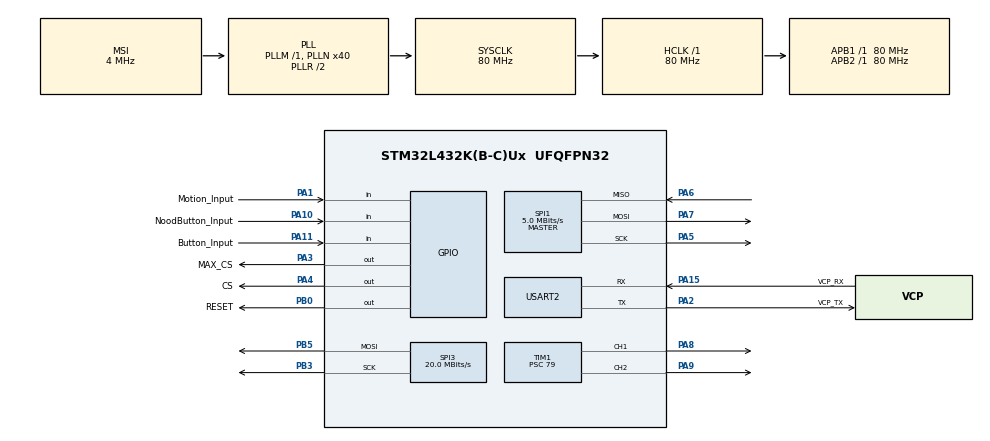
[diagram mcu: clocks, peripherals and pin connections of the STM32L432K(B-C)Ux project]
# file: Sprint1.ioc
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Mcu.Family=STM32L4
Mcu.Name=STM32L432K(B-C)Ux
Mcu.Package=UFQFPN32
NVIC.PriorityGroup=NVIC_PRIORITYGROUP_4
PA0.GPIO_Label=MCO [High speed clock in]
PA0.Mode=HSE-External-Clock-Source-for-LittleOrca
PA0.Signal=RCC_CK_IN
PA1.GPIO_Label=Motion_Input
PA1.Signal=GPIO_Input
PA10.GPIO_Label=NoodButton_Input
PA10.GPIO_PuPd=GPIO_PULLUP
PA10.Signal=GPIO_Input
PA11.GPIO_Label=Button_Input
PA11.GPIO_PuPd=GPIO_PULLUP
PA11.Signal=GPIO_Input
PA13\ (JTMS-SWDIO).GPIO_Label=SWDIO
PA13\ (JTMS-SWDIO).Mode=Serial_Wire
PA13\ (JTMS-SWDIO).Signal=SYS_JTMS-SWDIO
PA14\ (JTCK-SWCLK).GPIO_Label=SWCLK
PA14\ (JTCK-SWCLK).Mode=Serial_Wire
PA14\ (JTCK-SWCLK).Signal=SYS_JTCK-SWCLK
PA15\ (JTDI).GPIO_Label=VCP_RX
PA15\ (JTDI).Mode=Asynchronous
PA15\ (JTDI).Signal=USART2_RX
PA2.GPIO_Label=VCP_TX
PA2.Mode=Asynchronous
PA2.Signal=USART2_TX
PA3.GPIO_Label=MAX_CS
PA3.Signal=GPIO_Output
PA4.GPIO_Label=CS
PA4.Signal=GPIO_Output
PA5.Mode=Full_Duplex_Master
PA5.Signal=SPI1_SCK
PA6.Mode=Full_Duplex_Master
PA6.Signal=SPI1_MISO
PA7.Mode=Full_Duplex_Master
PA7.Signal=SPI1_MOSI
PA8.Signal=S_TIM1_CH1
PA9.Signal=S_TIM1_CH2
PB0.GPIO_Label=RESET
PB0.Signal=GPIO_Output
PB3\ (JTDO-TRACESWO).Mode=TX_Only_Simplex_Unidirect_Master
PB3\ (JTDO-TRACESWO).Signal=SPI3_SCK
PB5.Mode=TX_Only_Simplex_Unidirect_Master
PB5.Signal=SPI3_MOSI
PC14-OSC32_IN\ (PC14).Mode=LSE-External-Oscillator
PC14-OSC32_IN\ (PC14).Signal=RCC_OSC32_IN
PC15-OSC32_OUT\ (PC15).Mode=LSE-External-Oscillator
PC15-OSC32_OUT\ (PC15).Signal=RCC_OSC32_OUT
ProjectManager.HeapSize=0x200
ProjectManager.StackSize=0x400
ProjectManager.TargetToolchain=STM32CubeIDE
RCC.AHBFreq_Value=80000000
RCC.APB1Freq_Value=80000000
RCC.APB1TimFreq_Value=80000000
RCC.APB2Freq_Value=80000000
RCC.APB2TimFreq_Value=80000000
RCC.CortexFreq_Value=80000000
RCC.HCLKFreq_Value=80000000
RCC.HSE_VALUE=8000000
RCC.HSI16_VALUE=16000000
RCC.HSI48_VALUE=48000000
RCC.HSI_VALUE=16000000
RCC.MSI_VALUE=4000000
RCC.PLLMUL=RCC_PLLMUL_4
RCC.PLLN=40
RCC.SYSCLKFreq_VALUE=80000000
RCC.SYSCLKSource=RCC_SYSCLKSOURCE_PLLCLK
RCC.VCOOutputFreq_Value=160000000
SH.S_TIM1_CH1.0=TIM1_CH1,PWM Generation1 CH1
SH.S_TIM1_CH2.0=TIM1_CH2,PWM Generation2 CH2
SPI1.BaudRatePrescaler=SPI_BAUDRATEPRESCALER_16
SPI1.CalculateBaudRate=5.0 MBits/s
SPI1.DataSize=SPI_DATASIZE_8BIT
SPI1.Direction=SPI_DIRECTION_2LINES
SPI1.Mode=SPI_MODE_MASTER
SPI1.VirtualType=VM_MASTER
SPI3.BaudRatePrescaler=SPI_BAUDRATEPRESCALER_4
SPI3.CalculateBaudRate=20.0 MBits/s
SPI3.DataSize=SPI_DATASIZE_8BIT
SPI3.Direction=SPI_DIRECTION_2LINES
SPI3.Mode=SPI_MODE_MASTER
SPI3.VirtualType=VM_MASTER
TIM1.Channel-PWM\ Generation1\ CH1=TIM_CHANNEL_1
TIM1.Channel-PWM\ Generation2\ CH2=TIM_CHANNEL_2
TIM1.Period=19999
TIM1.Prescaler=79
TIM1.Pulse-PWM\ Generation1\ CH1=1500
TIM1.Pulse-PWM\ Generation2\ CH2=1500
USART2.VirtualMode-Asynchronous=VM_ASYNC
board=NUCLEO-L432KC

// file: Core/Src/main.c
/* USER CODE BEGIN Header */
/**
  ******************************************************************************
  * @file           : main.c
  * @brief          : Main program body
  ******************************************************************************
  * @attention
  *
  * Copyright (c) 2026 STMicroelectronics.
  * All rights reserved.
  *
  * This software is licensed under terms that can be found in the LICENSE file
  * in the root directory of this software component.
  * If no LICENSE file comes with this software, it is provided AS-IS.
  *
  ******************************************************************************
  */
/* USER CODE END Header */
#include "main.h"

/* USER CODE BEGIN Includes */
#include "MFRC522_STM32.h"
/* USER CODE END Includes */

SPI_HandleTypeDef hspi1;
SPI_HandleTypeDef hspi3;

TIM_HandleTypeDef htim1;

UART_HandleTypeDef huart2;

/* USER CODE BEGIN PV */
uint8_t uid[4];
extern uint8_t atqa[];
/* USER CODE END PV */

void SystemClock_Config(void);
static void MX_GPIO_Init(void);
static void MX_TIM1_Init(void);
static void MX_USART2_UART_Init(void);
static void MX_SPI3_Init(void);
static void MX_SPI1_Init(void);
/* USER CODE BEGIN PFP */
MFRC522_t rfID = {&hspi1, CS_GPIO_Port, CS_Pin, RESET_GPIO_Port, RESET_Pin};
/* USER CODE END PFP */

/* USER CODE BEGIN 0 */
int _write(int fd, unsigned char *buf, int len);

void Servo_SetAngle(uint8_t angle, uint32_t channel)
{
    uint32_t pulse = 500 + ((uint32_t)angle * 2000) / 180;
    __HAL_TIM_SET_COMPARE(&htim1, channel, pulse);
}

void max7219_send(uint8_t reg, uint8_t data)
{
    HAL_GPIO_WritePin(MAX_CS_GPIO_Port, MAX_CS_Pin, GPIO_PIN_RESET);

    uint8_t bytes[2] = {reg, data};
    HAL_SPI_Transmit(&hspi3, bytes, 2, HAL_MAX_DELAY);

    HAL_GPIO_WritePin(MAX_CS_GPIO_Port, MAX_CS_Pin, GPIO_PIN_SET);
}

void max7219_init(void)
{
    max7219_send(0x0F, 0x00); // Display test uit
    max7219_send(0x0C, 0x01); // Shutdown uit (display aan)
    max7219_send(0x0B, 0x07); // Scan limit: 8 rijen
    max7219_send(0x09, 0x00); // Geen decode mode
    max7219_send(0x0A, 0x08); // Brightness
}
uint8_t leeg_2d[8][8] = {
    {0,0,0,0,0,0,0,0},
    {0,0,0,0,0,0,0,0},
    {0,0,0,0,0,0,0,0},
    {0,0,0,0,0,0,0,0},
    {0,0,0,0,0,0,0,0},
    {0,0,0,0,0,0,0,0},
    {0,0,0,0,0,0,0,0},
    {0,0,0,0,0,0,0,0}
};

uint8_t uitroepteken_2d[8][8] = {
    {0,0,0,1,1,0,0,0},
    {0,0,0,1,1,0,0,0},
    {0,0,0,1,1,0,0,0},
    {0,0,0,1,1,0,0,0},
    {0,0,0,1,1,0,0,0},
    {0,0,0,0,0,0,0,0},
    {0,0,0,1,1,0,0,0},
    {0,0,0,1,1,0,0,0}
};

uint8_t duimpje_2d[8][8] = {
    {0,0,0,0,1,0,0,0},
    {0,0,0,1,1,0,0,0},
    {0,0,0,1,1,0,0,0},
    {1,1,1,1,1,1,1,0},
    {1,1,1,1,1,1,1,0},
    {1,1,1,1,1,1,1,0},
    {1,1,1,1,1,1,0,0},
    {0,0,0,1,1,0,0,0}
};
uint8_t vinkje_2d[8][8] = {
    {0,0,0,0,0,0,0,0},
    {0,0,0,0,0,0,0,1},
    {0,0,0,0,0,0,1,0},
    {0,0,0,0,0,1,0,0},
    {1,0,0,0,1,0,0,0},
    {0,1,0,1,0,0,0,0},
    {0,0,1,0,0,0,0,0},
    {0,0,0,0,0,0,0,0}
};

uint8_t kruisje_2d[8][8] = {
    {0,0,0,0,0,0,0,0},
    {1,0,0,0,0,0,0,1},
    {0,1,0,0,0,0,1,0},
    {0,0,1,0,0,1,0,0},
    {0,0,0,1,1,0,0,0},
    {0,0,1,0,0,1,0,0},
    {0,1,0,0,0,0,1,0},
    {1,0,0,0,0,0,0,1}
};

uint8_t row_to_byte(uint8_t row[8])
{
    uint8_t value = 0;
    for (int i = 0; i < 8; i++)
    {
        value <<= 1;
        value |= (row[i] & 0x01);
    }
    return value;
}

void max7219_show_2d(uint8_t arr[8][8])
{
    for (uint8_t row = 0; row < 8; row++)
    {
        uint8_t byte = row_to_byte(arr[row]);
        max7219_send(row + 1, byte);
    }
}
/* USER CODE END 0 */

int main(void)
{

  /* MCU Configuration--------------------------------------------------------*/

  /* Reset of all peripherals, Initializes the Flash interface and the Systick. */
  HAL_Init();

  /* Configure the system clock */
  SystemClock_Config();

  /* Initialize all configured peripherals */
  MX_GPIO_Init();
  MX_TIM1_Init();
  MX_USART2_UART_Init();
  MX_SPI3_Init();
  MX_SPI1_Init();
  /* USER CODE BEGIN 2 */
  max7219_init();
  HAL_TIM_PWM_Start(&htim1, TIM_CHANNEL_1);
  HAL_TIM_PWM_Start(&htim1, TIM_CHANNEL_2);

  Servo_SetAngle(0, TIM_CHANNEL_1);
  Servo_SetAngle(0, TIM_CHANNEL_2);

  MFRC522_Init(&rfID);
  uint8_t noodstand_actief = 0;
  /* USER CODE END 2 */

  /* Infinite loop */
  while (1)
  {

    /* USER CODE BEGIN 3 */
	  if (HAL_GPIO_ReadPin(NoodButton_Input_GPIO_Port, NoodButton_Input_Pin) == GPIO_PIN_RESET) {
	          if (!noodstand_actief) {
	              noodstand_actief = 1;
	              max7219_show_2d(uitroepteken_2d);
	              char nood[] = "Noodknop ingedrukt, alle deuren gaan Open\r\n";
	              HAL_UART_Transmit(&huart2, (uint8_t*)nood, sizeof(nood)-1, HAL_MAX_DELAY);
	              Servo_SetAngle(180, TIM_CHANNEL_1);
	              Servo_SetAngle(180, TIM_CHANNEL_2);
	          }
	      } else {
	          if (noodstand_actief) {
	              noodstand_actief = 0;
	              Servo_SetAngle(0, TIM_CHANNEL_1);
	              Servo_SetAngle(0, TIM_CHANNEL_2);
	              max7219_show_2d(leeg_2d);
	          }
	      }

	      if (MFRC522_RequestA(&rfID, atqa) == STATUS_OK) {
	          if (MFRC522_ReadUid(&rfID, uid) == STATUS_OK) {
	              USER_LOG("CARD ID:%02X %02X %02X %02X", uid[0], uid[1], uid[2], uid[3]);

	              if (!noodstand_actief) {
	                  if ((uid[0] == 0xF9) && (uid[1] == 0xA0) && (uid[2] == 0x2D) && (uid[3] == 0x15)) {
	                      max7219_show_2d(vinkje_2d);

	                      char RFIDmsg[] = "Deur 1 gaat open\r\n";
	                      HAL_UART_Transmit(&huart2, (uint8_t*)RFIDmsg, sizeof(RFIDmsg)-1, HAL_MAX_DELAY);

	                      Servo_SetAngle(180, TIM_CHANNEL_1);
	                      HAL_Delay(3000);
	                      Servo_SetAngle(0, TIM_CHANNEL_1);

	                      char RFIDmsg2[] = "Deur 1 gaat dicht\r\n";
	                      HAL_UART_Transmit(&huart2, (uint8_t*)RFIDmsg2, sizeof(RFIDmsg2)-1, HAL_MAX_DELAY);

	                      HAL_Delay(1000);

	                      char RFIDmsg3[] = "Deur 2 gaat open\r\n";
	                      HAL_UART_Transmit(&huart2, (uint8_t*)RFIDmsg3, sizeof(RFIDmsg3)-1, HAL_MAX_DELAY);

	                      Servo_SetAngle(180, TIM_CHANNEL_2);
	                      HAL_Delay(3000);
	                      Servo_SetAngle(0, TIM_CHANNEL_2);

	                      char RFIDmsg4[] = "Deur 2 gaat dicht\r\n";
	                      HAL_UART_Transmit(&huart2, (uint8_t*)RFIDmsg4, sizeof(RFIDmsg4)-1, HAL_MAX_DELAY);

	                      max7219_show_2d(leeg_2d);
	                      HAL_Delay(1000);
	                  } else {
	                      max7219_show_2d(kruisje_2d);

	                      char RFIDmsg_fout[] = "Toegang geweigerd\r\n";
	                      HAL_UART_Transmit(&huart2, (uint8_t*)RFIDmsg_fout, sizeof(RFIDmsg_fout)-1, HAL_MAX_DELAY);

	                      HAL_Delay(2000);
	                      max7219_show_2d(leeg_2d);
	                  }
	              }
	          }
	          waitcardRemoval(&rfID);
	      }

	      if (!noodstand_actief) {
	          if (HAL_GPIO_ReadPin(Motion_Input_GPIO_Port, Motion_Input_Pin) == GPIO_PIN_SET) {

	              char Beweging[] = "Beweging gedetecteerd\r\n";
	              HAL_UART_Transmit(&huart2, (uint8_t*)Beweging, sizeof(Beweging)-1, HAL_MAX_DELAY);

	              char msg3[] = "Deur 2 gaat open\r\n";
	              HAL_UART_Transmit(&huart2, (uint8_t*)msg3, sizeof(msg3)-1, HAL_MAX_DELAY);

	              Servo_SetAngle(180, TIM_CHANNEL_2);
	              HAL_Delay(3000);
	              Servo_SetAngle(0, TIM_CHANNEL_2);

	              char msg4[] = "Deur 2 gaat dicht\r\n";
	              HAL_UART_Transmit(&huart2, (uint8_t*)msg4, sizeof(msg4)-1, HAL_MAX_DELAY);

	              HAL_Delay(1000);

	              char msg[] = "Deur 1 gaat open\r\n";
	              HAL_UART_Transmit(&huart2, (uint8_t*)msg, sizeof(msg)-1, HAL_MAX_DELAY);

	              Servo_SetAngle(180, TIM_CHANNEL_1);
	              HAL_Delay(3000);
	              Servo_SetAngle(0, TIM_CHANNEL_1);

	              char msg2[] = "Deur 1 gaat dicht\r\n";
	              HAL_UART_Transmit(&huart2, (uint8_t*)msg2, sizeof(msg2)-1, HAL_MAX_DELAY);

	              HAL_Delay(1000);
	          }

	          if (HAL_GPIO_ReadPin(Button_Input_GPIO_Port, Button_Input_Pin) == GPIO_PIN_RESET) {

	              char Knop[] = "Knop Ingedrukt\r\n";
	              HAL_UART_Transmit(&huart2, (uint8_t*)Knop, sizeof(Knop)-1, HAL_MAX_DELAY);

	              char msg[] = "Deur 1 gaat open\r\n";
	              HAL_UART_Transmit(&huart2, (uint8_t*)msg, sizeof(msg)-1, HAL_MAX_DELAY);

	              Servo_SetAngle(180, TIM_CHANNEL_1);
	              HAL_Delay(3000);
	              Servo_SetAngle(0, TIM_CHANNEL_1);

	              char msg2[] = "Deur 1 gaat dicht\r\n";
	              HAL_UART_Transmit(&huart2, (uint8_t*)msg2, sizeof(msg2)-1, HAL_MAX_DELAY);

	              HAL_Delay(1000);

	              char msg3[] = "Deur 2 gaat open\r\n";
	              HAL_UART_Transmit(&huart2, (uint8_t*)msg3, sizeof(msg3)-1, HAL_MAX_DELAY);

	              Servo_SetAngle(180, TIM_CHANNEL_2);
	              HAL_Delay(3000);
	              Servo_SetAngle(0, TIM_CHANNEL_2);

	              char msg4[] = "Deur 2 gaat dicht\r\n";
	              HAL_UART_Transmit(&huart2, (uint8_t*)msg4, sizeof(msg4)-1, HAL_MAX_DELAY);

	              HAL_Delay(1000);
	          }
	      }
  }
  /* USER CODE END 3 */
}

void SystemClock_Config(void)
{
  RCC_OscInitTypeDef RCC_OscInitStruct = {0};
  RCC_ClkInitTypeDef RCC_ClkInitStruct = {0};

  /** Configure the main internal regulator output voltage
  */
  if (HAL_PWREx_ControlVoltageScaling(PWR_REGULATOR_VOLTAGE_SCALE1) != HAL_OK)
  {
    Error_Handler();
  }

  /** Configure LSE Drive Capability
  */
  HAL_PWR_EnableBkUpAccess();
  __HAL_RCC_LSEDRIVE_CONFIG(RCC_LSEDRIVE_LOW);

  /** Initializes the RCC Oscillators according to the specified parameters
  * in the RCC_OscInitTypeDef structure.
  */
  RCC_OscInitStruct.OscillatorType = RCC_OSCILLATORTYPE_LSE|RCC_OSCILLATORTYPE_MSI;
  RCC_OscInitStruct.LSEState = RCC_LSE_ON;
  RCC_OscInitStruct.MSIState = RCC_MSI_ON;
  RCC_OscInitStruct.MSICalibrationValue = 0;
  RCC_OscInitStruct.MSIClockRange = RCC_MSIRANGE_6;
  RCC_OscInitStruct.PLL.PLLState = RCC_PLL_ON;
  RCC_OscInitStruct.PLL.PLLSource = RCC_PLLSOURCE_MSI;
  RCC_OscInitStruct.PLL.PLLM = 1;
  RCC_OscInitStruct.PLL.PLLN = 40;
  RCC_OscInitStruct.PLL.PLLP = RCC_PLLP_DIV7;
  RCC_OscInitStruct.PLL.PLLQ = RCC_PLLQ_DIV2;
  RCC_OscInitStruct.PLL.PLLR = RCC_PLLR_DIV2;
  if (HAL_RCC_OscConfig(&RCC_OscInitStruct) != HAL_OK)
  {
    Error_Handler();
  }

  /** Initializes the CPU, AHB and APB buses clocks
  */
  RCC_ClkInitStruct.ClockType = RCC_CLOCKTYPE_HCLK|RCC_CLOCKTYPE_SYSCLK
                              |RCC_CLOCKTYPE_PCLK1|RCC_CLOCKTYPE_PCLK2;
  RCC_ClkInitStruct.SYSCLKSource = RCC_SYSCLKSOURCE_PLLCLK;
  RCC_ClkInitStruct.AHBCLKDivider = RCC_SYSCLK_DIV1;
  RCC_ClkInitStruct.APB1CLKDivider = RCC_HCLK_DIV1;
  RCC_ClkInitStruct.APB2CLKDivider = RCC_HCLK_DIV1;

  if (HAL_RCC_ClockConfig(&RCC_ClkInitStruct, FLASH_LATENCY_4) != HAL_OK)
  {
    Error_Handler();
  }

  /** Enable MSI Auto calibration
  */
  HAL_RCCEx_EnableMSIPLLMode();
}

static void MX_SPI1_Init(void)
{

  /* SPI1 parameter configuration*/
  hspi1.Instance = SPI1;
  hspi1.Init.Mode = SPI_MODE_MASTER;
  hspi1.Init.Direction = SPI_DIRECTION_2LINES;
  hspi1.Init.DataSize = SPI_DATASIZE_8BIT;
  hspi1.Init.CLKPolarity = SPI_POLARITY_LOW;
  hspi1.Init.CLKPhase = SPI_PHASE_1EDGE;
  hspi1.Init.NSS = SPI_NSS_SOFT;
  hspi1.Init.BaudRatePrescaler = SPI_BAUDRATEPRESCALER_16;
  hspi1.Init.FirstBit = SPI_FIRSTBIT_MSB;
  hspi1.Init.TIMode = SPI_TIMODE_DISABLE;
  hspi1.Init.CRCCalculation = SPI_CRCCALCULATION_DISABLE;
  hspi1.Init.CRCPolynomial = 7;
  hspi1.Init.CRCLength = SPI_CRC_LENGTH_DATASIZE;
  hspi1.Init.NSSPMode = SPI_NSS_PULSE_ENABLE;
  if (HAL_SPI_Init(&hspi1) != HAL_OK)
  {
    Error_Handler();
  }

}

static void MX_SPI3_Init(void)
{

  /* SPI3 parameter configuration*/
  hspi3.Instance = SPI3;
  hspi3.Init.Mode = SPI_MODE_MASTER;
  hspi3.Init.Direction = SPI_DIRECTION_2LINES;
  hspi3.Init.DataSize = SPI_DATASIZE_8BIT;
  hspi3.Init.CLKPolarity = SPI_POLARITY_LOW;
  hspi3.Init.CLKPhase = SPI_PHASE_1EDGE;
  hspi3.Init.NSS = SPI_NSS_SOFT;
  hspi3.Init.BaudRatePrescaler = SPI_BAUDRATEPRESCALER_4;
  hspi3.Init.FirstBit = SPI_FIRSTBIT_MSB;
  hspi3.Init.TIMode = SPI_TIMODE_DISABLE;
  hspi3.Init.CRCCalculation = SPI_CRCCALCULATION_DISABLE;
  hspi3.Init.CRCPolynomial = 7;
  hspi3.Init.CRCLength = SPI_CRC_LENGTH_DATASIZE;
  hspi3.Init.NSSPMode = SPI_NSS_PULSE_ENABLE;
  if (HAL_SPI_Init(&hspi3) != HAL_OK)
  {
    Error_Handler();
  }

}

static void MX_TIM1_Init(void)
{

  TIM_MasterConfigTypeDef sMasterConfig = {0};
  TIM_OC_InitTypeDef sConfigOC = {0};
  TIM_BreakDeadTimeConfigTypeDef sBreakDeadTimeConfig = {0};

  htim1.Instance = TIM1;
  htim1.Init.Prescaler = 79;
  htim1.Init.CounterMode = TIM_COUNTERMODE_UP;
  htim1.Init.Period = 19999;
  htim1.Init.ClockDivision = TIM_CLOCKDIVISION_DIV1;
  htim1.Init.RepetitionCounter = 0;
  htim1.Init.AutoReloadPreload = TIM_AUTORELOAD_PRELOAD_DISABLE;
  if (HAL_TIM_PWM_Init(&htim1) != HAL_OK)
  {
    Error_Handler();
  }
  sMasterConfig.MasterOutputTrigger = TIM_TRGO_RESET;
  sMasterConfig.MasterOutputTrigger2 = TIM_TRGO2_RESET;
  sMasterConfig.MasterSlaveMode = TIM_MASTERSLAVEMODE_DISABLE;
  if (HAL_TIMEx_MasterConfigSynchronization(&htim1, &sMasterConfig) != HAL_OK)
  {
    Error_Handler();
  }
  sConfigOC.OCMode = TIM_OCMODE_PWM1;
  sConfigOC.Pulse = 1500;
  sConfigOC.OCPolarity = TIM_OCPOLARITY_HIGH;
  sConfigOC.OCNPolarity = TIM_OCNPOLARITY_HIGH;
  sConfigOC.OCFastMode = TIM_OCFAST_DISABLE;
  sConfigOC.OCIdleState = TIM_OCIDLESTATE_RESET;
  sConfigOC.OCNIdleState = TIM_OCNIDLESTATE_RESET;
  if (HAL_TIM_PWM_ConfigChannel(&htim1, &sConfigOC, TIM_CHANNEL_1) != HAL_OK)
  {
    Error_Handler();
  }
  if (HAL_TIM_PWM_ConfigChannel(&htim1, &sConfigOC, TIM_CHANNEL_2) != HAL_OK)
  {
    Error_Handler();
  }
  sBreakDeadTimeConfig.OffStateRunMode = TIM_OSSR_DISABLE;
  sBreakDeadTimeConfig.OffStateIDLEMode = TIM_OSSI_DISABLE;
  sBreakDeadTimeConfig.LockLevel = TIM_LOCKLEVEL_OFF;
  sBreakDeadTimeConfig.DeadTime = 0;
  sBreakDeadTimeConfig.BreakState = TIM_BREAK_DISABLE;
  sBreakDeadTimeConfig.BreakPolarity = TIM_BREAKPOLARITY_HIGH;
  sBreakDeadTimeConfig.BreakFilter = 0;
  sBreakDeadTimeConfig.Break2State = TIM_BREAK2_DISABLE;
  sBreakDeadTimeConfig.Break2Polarity = TIM_BREAK2POLARITY_HIGH;
  sBreakDeadTimeConfig.Break2Filter = 0;
  sBreakDeadTimeConfig.AutomaticOutput = TIM_AUTOMATICOUTPUT_DISABLE;
  if (HAL_TIMEx_ConfigBreakDeadTime(&htim1, &sBreakDeadTimeConfig) != HAL_OK)
  {
    Error_Handler();
  }
  HAL_TIM_MspPostInit(&htim1);

}

static void MX_USART2_UART_Init(void)
{

  huart2.Instance = USART2;
  huart2.Init.BaudRate = 115200;
  huart2.Init.WordLength = UART_WORDLENGTH_8B;
  huart2.Init.StopBits = UART_STOPBITS_1;
  huart2.Init.Parity = UART_PARITY_NONE;
  huart2.Init.Mode = UART_MODE_TX_RX;
  huart2.Init.HwFlowCtl = UART_HWCONTROL_NONE;
  huart2.Init.OverSampling = UART_OVERSAMPLING_16;
  huart2.Init.OneBitSampling = UART_ONE_BIT_SAMPLE_DISABLE;
  huart2.AdvancedInit.AdvFeatureInit = UART_ADVFEATURE_NO_INIT;
  if (HAL_UART_Init(&huart2) != HAL_OK)
  {
    Error_Handler();
  }

}

static void MX_GPIO_Init(void)
{
  GPIO_InitTypeDef GPIO_InitStruct = {0};

  /* GPIO Ports Clock Enable */
  __HAL_RCC_GPIOC_CLK_ENABLE();
  __HAL_RCC_GPIOA_CLK_ENABLE();
  __HAL_RCC_GPIOB_CLK_ENABLE();

  /*Configure GPIO pin Output Level */
  HAL_GPIO_WritePin(GPIOA, MAX_CS_Pin|CS_Pin, GPIO_PIN_RESET);

  /*Configure GPIO pin Output Level */
  HAL_GPIO_WritePin(RESET_GPIO_Port, RESET_Pin, GPIO_PIN_RESET);

  /*Configure GPIO pin : Motion_Input_Pin */
  GPIO_InitStruct.Pin = Motion_Input_Pin;
  GPIO_InitStruct.Mode = GPIO_MODE_INPUT;
  GPIO_InitStruct.Pull = GPIO_NOPULL;
  HAL_GPIO_Init(Motion_Input_GPIO_Port, &GPIO_InitStruct);

  /*Configure GPIO pins : MAX_CS_Pin CS_Pin */
  GPIO_InitStruct.Pin = MAX_CS_Pin|CS_Pin;
  GPIO_InitStruct.Mode = GPIO_MODE_OUTPUT_PP;
  GPIO_InitStruct.Pull = GPIO_NOPULL;
  GPIO_InitStruct.Speed = GPIO_SPEED_FREQ_LOW;
  HAL_GPIO_Init(GPIOA, &GPIO_InitStruct);

  /*Configure GPIO pin : RESET_Pin */
  GPIO_InitStruct.Pin = RESET_Pin;
  GPIO_InitStruct.Mode = GPIO_MODE_OUTPUT_PP;
  GPIO_InitStruct.Pull = GPIO_NOPULL;
  GPIO_InitStruct.Speed = GPIO_SPEED_FREQ_LOW;
  HAL_GPIO_Init(RESET_GPIO_Port, &GPIO_InitStruct);

  /*Configure GPIO pins : NoodButton_Input_Pin Button_Input_Pin */
  GPIO_InitStruct.Pin = NoodButton_Input_Pin|Button_Input_Pin;
  GPIO_InitStruct.Mode = GPIO_MODE_INPUT;
  GPIO_InitStruct.Pull = GPIO_PULLUP;
  HAL_GPIO_Init(GPIOA, &GPIO_InitStruct);

}

/* USER CODE BEGIN 4 */
int _write(int fd, unsigned char *buf, int len) {
  if (fd == 1 || fd == 2) {                     // stdout or stderr ?
    HAL_UART_Transmit(&huart2, buf, len, 999);  // Print to the UART
  }
  return len;
}
/* USER CODE END 4 */

void Error_Handler(void)
{
  __disable_irq();
  while (1)
  {
  }
}
